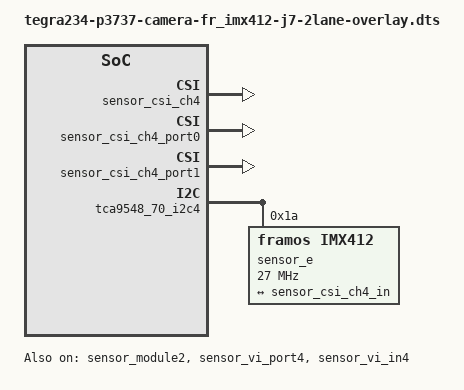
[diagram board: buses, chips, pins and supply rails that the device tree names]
// SPDX-License-Identifier: GPL-2.0
/*
 * Copyright (c) 2024 Framos. All rights reserved.
 *
 * tegra234-p3737-camera-fr_imx412-j7-2lane-overlay.dts - IMX412 sensor device tree
 */

/dts-v1/;
/plugin/;

#include <dt-bindings/clock/tegra234-clock.h>
#include <dt-bindings/gpio/tegra234-gpio.h>
#include <dt-bindings/tegra234-p3737-0000+p3701-0000.h>


/ {
	overlay-name = "Framos IMX412-J7-2Lane";
	jetson-header-name = "Jetson AGX CSI Connector";
	compatible = JETSON_COMPATIBLE;

	fragment@0 {
		target = <&sensor_module2>;
		__overlay__ {
			status = "okay";
			badge = "imx412_bottomright_framos";
			drivernode0 {
				status = "okay";
				/* Declare PCL support driver (classically known as guid) */
				devname = "imx412 13-001a";
				/* Declare the device-tree hierarchy to driver instance */
				sysfs-device-tree = "/sys/firmware/devicetree/base/bus@0/i2c@3180000/tca9548@70/i2c@4/imx412_e@1a";
			};
		};
	};

	fragment@1 {
		target = <&sensor_vi_port4>;
		__overlay__ {
			status = "okay";
		};
	};

	fragment@2 {
		target = <&sensor_vi_in4>;
		__overlay__ {
			status = "okay";
			bus-width = <2>;
		};
	};

	fragment@3 {
		target = <&sensor_csi_ch4>;
		__overlay__ {
			status = "okay";
			ports {
				status = "okay";
			};
		};
	};

	fragment@4 {
		target = <&sensor_csi_ch4_port0>;
		__overlay__ {
			status = "okay";
		};
	};

	fragment@5 {
		target = <&sensor_csi_ch4_in>;
		__overlay__ {
			status = "okay";
			bus-width = <2>;
			remote-endpoint = <&sensor_out_e>;
		};
	};

	fragment@6 {
		target = <&sensor_csi_ch4_port1>;
		__overlay__ {
			status = "okay";
		};
	};

	fragment@7 {
		target = <&sensor_csi_ch4_out>;
		__overlay__ {
			status = "okay";
		};
	};

	fragment@8 {
		target = <&tca9548_70_i2c4>;
		__overlay__ {
			sensor_e: imx412_e@1a {
				compatible = "framos,imx412";
				reg = <0x1a>;

				/* Define any required hw resources needed by driver */
				/* ie. clocks, io pins, power sources */
				clocks = <&bpmp TEGRA234_CLK_EXTPERIPH1>, <&bpmp TEGRA234_CLK_EXTPERIPH1>;
				clock-names = "extperiph1", "pllp_grtba";
				mclk = "extperiph1";
				clock-frequency = <27000000>;

				devnode = "video4";

				physical_w = "10.70";
				physical_h = "8.50";

				sensor_model ="imx412";

				/* Defines number of frames to be dropped by driver internally after applying */
				/* sensor crop settings. Some sensors send corrupt frames after applying */
				/* crop co-ordinates */
				post_crop_frame_drop = "0";

				/* Convert Gain to unit of dB (decibel) befor passing to kernel driver */
				use_decibel_gain = "true";

				/* if true, delay gain setting by one frame to be in sync with exposure */
				delayed_gain = "false";

				/* enable CID_SENSOR_MODE_ID for sensor modes selection */
				use_sensor_mode_id = "false";

				mode0 {
					mclk_khz = "27000";
					num_lanes = "2";
					tegra_sinterface = "serial_e";
					vc_id = "0";
					phy_mode = "DPHY";
					discontinuous_clk = "no";
					dpcm_enable = "false";
					cil_settletime = "0";
					active_w = "4056";
					active_h = "3040";

					dynamic_pixel_bit_depth = "10";
					csi_pixel_bit_depth = "10";
					mode_type = "bayer";
					pixel_phase = "rggb";

					readout_orientation = "0";
					line_length = "4512";
					inherent_gain = "1";
					pix_clk_hz = "420000000";
					serdes_pix_clk_hz = "12000000000";/* GMSL predefine */

					gain_factor = "1000";
					min_gain_val = "1000";/* 0dB */
					max_gain_val = "356176";/* 51dB */
					step_gain_val = "1";
					default_gain = "1000";
					min_hdr_ratio = "1";
					max_hdr_ratio = "64";
					framerate_factor = "1000000";
					min_framerate = "1500000";/* 1.5 */
					max_framerate = "30000000";/* 30 */
					step_framerate = "1";
					default_framerate= "30000000";
					exposure_factor = "1000000";
					min_exp_time = "7";/* us */
					max_exp_time = "660000";/* us */
					step_exp_time = "1";
					default_exp_time = "10000";/* us */
					embedded_metadata_height = "2";
				};
				mode1 {
					mclk_khz = "27000";
					num_lanes = "2";
					tegra_sinterface = "serial_e";
					vc_id = "0";
					phy_mode = "DPHY";
					discontinuous_clk = "no";
					dpcm_enable = "false";
					cil_settletime = "0";
					active_w = "3840";
					active_h = "2160";

					dynamic_pixel_bit_depth = "10";
					csi_pixel_bit_depth = "10";
					mode_type = "bayer";
					pixel_phase = "rggb";

					readout_orientation = "0";
					line_length = "4512";
					inherent_gain = "1";
					pix_clk_hz = "420000000";
					serdes_pix_clk_hz = "12000000000";/* GMSL predefine */

					gain_factor = "1000";
					min_gain_val = "1000";/* 0dB */
					max_gain_val = "356176";/* 51dB */
					step_gain_val = "1";
					default_gain = "1000";
					min_hdr_ratio = "1";
					max_hdr_ratio = "64";
					framerate_factor = "1000000";
					min_framerate = "1500000";/* 1.5 */
					max_framerate = "42000000";/* 42 */
					step_framerate = "1";
					default_framerate= "30000000";
					exposure_factor = "1000000";
					min_exp_time = "7";/* us */
					max_exp_time = "660000";/* us */
					step_exp_time = "1";
					default_exp_time = "10000";/* us */
					embedded_metadata_height = "2";
				};
				mode2 {
					mclk_khz = "27000";
					num_lanes = "2";
					tegra_sinterface = "serial_e";
					vc_id = "0";
					phy_mode = "DPHY";
					discontinuous_clk = "no";
					dpcm_enable = "false";
					cil_settletime = "0";
					active_w = "1280";
					active_h = "720";

					dynamic_pixel_bit_depth = "10";
					csi_pixel_bit_depth = "10";
					mode_type = "bayer";
					pixel_phase = "rggb";

					readout_orientation = "0";
					line_length = "4512";
					inherent_gain = "1";
					pix_clk_hz = "420000000";
					serdes_pix_clk_hz = "12000000000";/* GMSL predefine */

					gain_factor = "1000";
					min_gain_val = "1000";/* 0dB */
					max_gain_val = "356176";/* 51dB */
					step_gain_val = "1";
					default_gain = "1000";
					min_hdr_ratio = "1";
					max_hdr_ratio = "64";
					framerate_factor = "1000000";
					min_framerate = "1500000";/* 1.5 */
					max_framerate = "30000000";/* 30 */
					step_framerate = "1";
					default_framerate= "30000000";
					exposure_factor = "1000000";
					min_exp_time = "7";/* us */
					max_exp_time = "660000";/* us */
					step_exp_time = "1";
					default_exp_time = "10000";/* us */
					embedded_metadata_height = "2";
				};
				mode3 {
					mclk_khz = "27000";
					num_lanes = "2";
					tegra_sinterface = "serial_e";
					vc_id = "0";
					phy_mode = "DPHY";
					discontinuous_clk = "no";
					dpcm_enable = "false";
					cil_settletime = "0";
					active_w = "1920";
					active_h = "1080";

					dynamic_pixel_bit_depth = "10";
					csi_pixel_bit_depth = "10";
					mode_type = "bayer";
					pixel_phase = "rggb";

					readout_orientation = "0";
					line_length = "4512";
					inherent_gain = "1";
					pix_clk_hz = "420000000";
					serdes_pix_clk_hz = "12000000000";/* GMSL predefine */

					gain_factor = "1000";
					min_gain_val = "1000";/* 0dB */
					max_gain_val = "356176";/* 51dB */
					step_gain_val = "1";
					default_gain = "1000";
					min_hdr_ratio = "1";
					max_hdr_ratio = "64";
					framerate_factor = "1000000";
					min_framerate = "1500000";/* 1.5 */
					max_framerate = "124000000";/* 124 */
					step_framerate = "1";
					default_framerate= "120000000";
					exposure_factor = "1000000";
					min_exp_time = "7";/* us */
					max_exp_time = "660000";/* us */
					step_exp_time = "1";
					default_exp_time = "10000";/* us */
					embedded_metadata_height = "2";
				};
				mode4 {
					mclk_khz = "27000";
					num_lanes = "2";
					tegra_sinterface = "serial_e";
					vc_id = "0";
					phy_mode = "DPHY";
					discontinuous_clk = "no";
					dpcm_enable = "false";
					cil_settletime = "0";
					active_w = "4056";
					active_h = "3040";

					dynamic_pixel_bit_depth = "12";
					csi_pixel_bit_depth = "12";
					mode_type = "bayer";
					pixel_phase = "rggb";

					readout_orientation = "0";
					line_length = "4512";
					inherent_gain = "1";
					pix_clk_hz = "420000000";
					serdes_pix_clk_hz = "12000000000";/* GMSL predefine */

					gain_factor = "1000";
					min_gain_val = "1000";/* 0dB */
					max_gain_val = "356176";/* 51dB */
					step_gain_val = "1";
					default_gain = "1000";
					min_hdr_ratio = "1";
					max_hdr_ratio = "64";
					framerate_factor = "1000000";
					min_framerate = "1500000";/* 1.5 */
					max_framerate = "22000000";/* 22 */
					step_framerate = "1";
					default_framerate= "22000000";
					exposure_factor = "1000000";
					min_exp_time = "7";/* us */
					max_exp_time = "660000";/* us */
					step_exp_time = "1";
					default_exp_time = "10000";/* us */
					embedded_metadata_height = "2";
				};
				mode5 {
					mclk_khz = "27000";
					num_lanes = "2";
					tegra_sinterface = "serial_e";
					vc_id = "0";
					phy_mode = "DPHY";
					discontinuous_clk = "no";
					dpcm_enable = "false";
					cil_settletime = "0";
					active_w = "3840";
					active_h = "2160";

					dynamic_pixel_bit_depth = "12";
					csi_pixel_bit_depth = "12";
					mode_type = "bayer";
					pixel_phase = "rggb";

					readout_orientation = "0";
					line_length = "4512";
					inherent_gain = "1";
					pix_clk_hz = "420000000";
					serdes_pix_clk_hz = "12000000000";/* GMSL predefine */

					gain_factor = "1000";
					min_gain_val = "1000";/* 0dB */
					max_gain_val = "356176";/* 51dB */
					step_gain_val = "1";
					default_gain = "1000";
					min_hdr_ratio = "1";
					max_hdr_ratio = "64";
					framerate_factor = "1000000";
					min_framerate = "1500000";/* 1.5 */
					max_framerate = "31000000";/* 31 */
					step_framerate = "1";
					default_framerate= "30000000";
					exposure_factor = "1000000";
					min_exp_time = "7";/* us */
					max_exp_time = "660000";/* us */
					step_exp_time = "1";
					default_exp_time = "10000";/* us */
					embedded_metadata_height = "2";
				};
				mode6 {
					mclk_khz = "27000";
					num_lanes = "2";
					tegra_sinterface = "serial_e";
					vc_id = "0";
					phy_mode = "DPHY";
					discontinuous_clk = "no";
					dpcm_enable = "false";
					cil_settletime = "0";
					active_w = "1280";
					active_h = "720";

					dynamic_pixel_bit_depth = "12";
					csi_pixel_bit_depth = "12";
					mode_type = "bayer";
					pixel_phase = "rggb";

					readout_orientation = "0";
					line_length = "4512";
					inherent_gain = "1";
					pix_clk_hz = "420000000";
					serdes_pix_clk_hz = "12000000000";/* GMSL predefine */

					gain_factor = "1000";
					min_gain_val = "1000";/* 0dB */
					max_gain_val = "356176";/* 51dB */
					step_gain_val = "1";
					default_gain = "1000";
					min_hdr_ratio = "1";
					max_hdr_ratio = "64";
					framerate_factor = "1000000";
					min_framerate = "1500000";/* 1.5 */
					max_framerate = "22000000";/* 22 */
					step_framerate = "1";
					default_framerate= "22000000";
					exposure_factor = "1000000";
					min_exp_time = "7";/* us */
					max_exp_time = "660000";/* us */
					step_exp_time = "1";
					default_exp_time = "10000";/* us */
					embedded_metadata_height = "2";
				};
				ports {
					#address-cells = <1>;
					#size-cells = <0>;
					port@0 {
						reg = <0>;
						sensor_out_e: endpoint {
							vc-id = <0>;
							port-index = <4>;
							bus-width = <2>;
							remote-endpoint = <&sensor_csi_ch4_in>;
						};
					};
				};
			};
		};
	};

};
